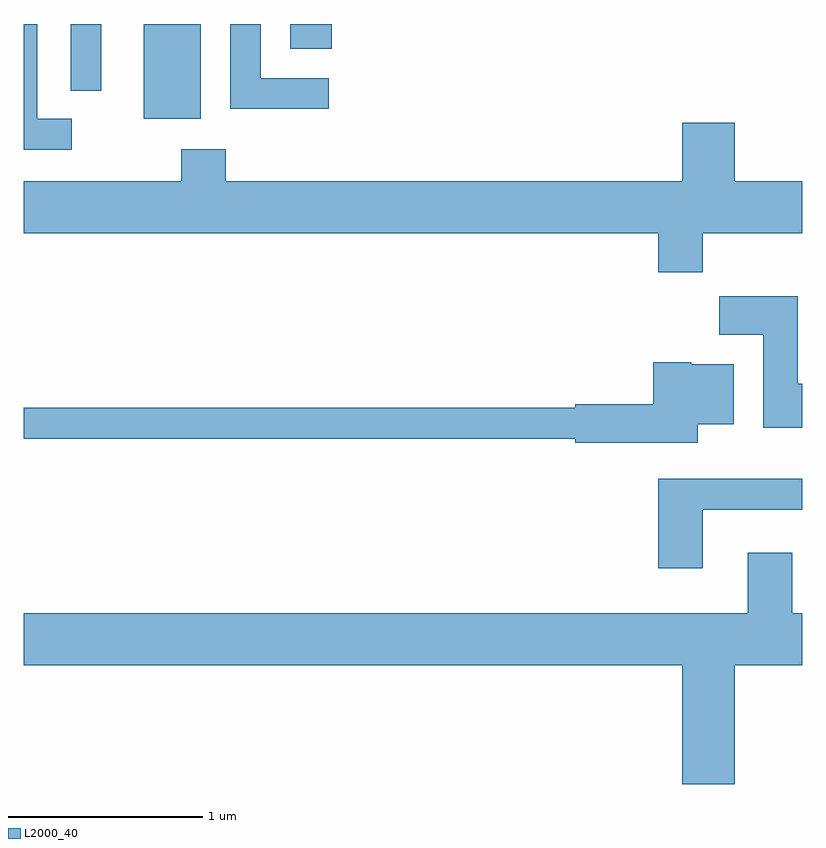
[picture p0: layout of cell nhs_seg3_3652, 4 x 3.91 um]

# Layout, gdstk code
import gdstk
lib = gdstk.Library(unit=1e-6, precision=1e-09)
def R(c, l, rs):  # rectangles x0, y0, x1, y1
    for r in rs: c.add(gdstk.rectangle(r[:2], r[2:], *l))
def P(c, l, *ps):  # polygons
    for p in ps: c.add(gdstk.Polygon(p, *l))
L2000_40 = (2000, 40)

nhs_seg3_3652 = lib.new_cell('nhs_seg3_3652')
R(nhs_seg3_3652, L2000_40, [(292.226,1215.406,292.519,1215.892), (291.851,1215.548,292.009,1215.892), (292.981,1215.766,293.194,1215.892)])
P(nhs_seg3_3652, L2000_40, [(293.178,1215.614),(292.829,1215.614),(292.829,1215.892),(292.671,1215.892),(292.671,1215.456),(293.178,1215.456)],
  [(291.858,1215.404),(291.679,1215.404),(291.679,1215.892),(291.611,1215.892),(291.611,1215.246),(291.858,1215.246)],
  [(295.099,1214.816),(295.611,1214.816),(295.611,1215.084),(295.264,1215.084),(295.264,1215.384),(294.996,1215.384),(294.996,1215.084),(292.649,1215.084),(292.649,1215.249),(292.421,1215.249),(292.421,1215.084),(291.611,1215.084),(291.611,1214.816),(294.871,1214.816),(294.871,1214.616),(295.099,1214.616)],
  [(295.611,1214.044),(295.589,1214.044),(295.589,1214.494),(295.186,1214.494),(295.186,1214.296),(295.411,1214.296),(295.411,1213.816),(295.611,1213.816)],
  [(295.074,1213.836),(295.259,1213.836),(295.259,1214.144),(295.04,1214.144),(295.04,1214.154),(294.846,1214.154),(294.846,1213.939),(294.446,1213.939),(294.446,1213.919),(291.611,1213.919),(291.611,1213.761),(294.446,1213.761),(294.446,1213.741),(295.074,1213.741)],
  [(295.099,1213.396),(295.611,1213.396),(295.611,1213.554),(294.871,1213.554),(294.871,1213.096),(295.099,1213.096)],
  [(295.264,1212.596),(295.611,1212.596),(295.611,1212.864),(295.559,1212.864),(295.559,1213.174),(295.331,1213.174),(295.331,1212.864),(291.611,1212.864),(291.611,1212.596),(294.996,1212.596),(294.996,1211.986),(295.264,1211.986)])

lib.write_gds('nhs_seg3_3652.gds')
